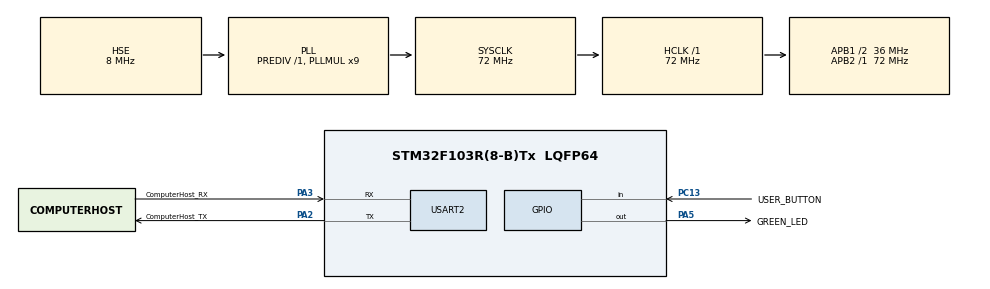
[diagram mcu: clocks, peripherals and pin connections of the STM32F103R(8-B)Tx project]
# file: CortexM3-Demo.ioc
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Dma.Request0=USART2_RX
Dma.USART2_RX.0.Direction=DMA_PERIPH_TO_MEMORY
Dma.USART2_RX.0.Instance=DMA1_Channel6
Dma.USART2_RX.0.MemDataAlignment=DMA_MDATAALIGN_BYTE
Dma.USART2_RX.0.MemInc=DMA_MINC_ENABLE
Dma.USART2_RX.0.Mode=DMA_NORMAL
Dma.USART2_RX.0.PeriphDataAlignment=DMA_PDATAALIGN_BYTE
Dma.USART2_RX.0.PeriphInc=DMA_PINC_DISABLE
Dma.USART2_RX.0.Priority=DMA_PRIORITY_HIGH
Mcu.Family=STM32F1
Mcu.Name=STM32F103R(8-B)Tx
Mcu.Package=LQFP64
NVIC.DMA1_Channel6_IRQn=true\:0\:0\:false\:false\:true\:false\:true
NVIC.PriorityGroup=NVIC_PRIORITYGROUP_4
NVIC.USART2_IRQn=true\:0\:0\:false\:false\:true\:true\:true
PA13.GPIO_Label=TMS
PA13.Mode=Serial_Wire
PA13.Signal=SYS_JTMS-SWDIO
PA14.GPIO_Label=TCK
PA14.Mode=Serial_Wire
PA14.Signal=SYS_JTCK-SWCLK
PA2.GPIO_Label=ComputerHost_TX
PA2.GPIO_Mode=GPIO_MODE_AF_PP
PA2.GPIO_PuPd=GPIO_NOPULL
PA2.GPIO_Speed=GPIO_SPEED_FREQ_LOW
PA2.Mode=Asynchronous
PA2.Signal=USART2_TX
PA3.GPIO_Label=ComputerHost_RX
PA3.GPIO_Mode=GPIO_MODE_AF_PP
PA3.GPIO_PuPd=GPIO_NOPULL
PA3.GPIO_Speed=GPIO_SPEED_FREQ_LOW
PA3.Mode=Asynchronous
PA3.Signal=USART2_RX
PA5.GPIO_Label=GREEN_LED
PA5.GPIO_ModeDefaultOutputPP=GPIO_MODE_OUTPUT_PP
PA5.GPIO_PuPd=GPIO_NOPULL
PA5.GPIO_Speed=GPIO_SPEED_FREQ_LOW
PA5.Signal=GPIO_Output
PB3.GPIO_Label=SWO
PB3.Signal=SYS_JTDO-TRACESWO
PC13-TAMPER-RTC.GPIO_Label=USER_BUTTON
PC13-TAMPER-RTC.GPIO_PuPd=GPIO_NOPULL
PC13-TAMPER-RTC.Signal=GPIO_Input
PC14-OSC32_IN.Mode=LSE-External-Oscillator
PC14-OSC32_IN.Signal=RCC_OSC32_IN
PC15-OSC32_OUT.Mode=LSE-External-Oscillator
PC15-OSC32_OUT.Signal=RCC_OSC32_OUT
PD0-OSC_IN.Mode=HSE-External-Clock-Source
PD0-OSC_IN.Signal=RCC_OSC_IN
PD1-OSC_OUT.Mode=HSE-External-Clock-Source
PD1-OSC_OUT.Signal=RCC_OSC_OUT
ProjectManager.HeapSize=0x200
ProjectManager.StackSize=0x400
ProjectManager.TargetToolchain=MDK-ARM V5
RCC.AHBFreq_Value=72000000
RCC.APB1CLKDivider=RCC_HCLK_DIV2
RCC.APB1Freq_Value=36000000
RCC.APB1TimFreq_Value=72000000
RCC.APB2Freq_Value=72000000
RCC.APB2TimFreq_Value=72000000
RCC.HCLKFreq_Value=72000000
RCC.PLLMUL=RCC_PLL_MUL9
RCC.PLLSourceVirtual=RCC_PLLSOURCE_HSE
RCC.RTCClockSelection=RCC_RTCCLKSOURCE_LSE
RCC.SYSCLKFreq_VALUE=72000000
RCC.SYSCLKSource=RCC_SYSCLKSOURCE_PLLCLK
RCC.USBFreq_Value=72000000
USART2.VirtualMode=VM_ASYNC
board=NUCLEO-F103RB

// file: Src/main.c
/* USER CODE BEGIN Header */
/**
  ******************************************************************************
  * @file           : main.c
  * @brief          : Main program body
	* @author         : Chan Tai Wing Vincent
	* @content        : M3 Demo - UART Receive with DMA
	* @version        : Tutorial 8
  ******************************************************************************
  * @attention
  * This program is written for STM32F103RB Nucleo Board. This program is to
  * demonstrate how to control the built in LED (ON/OFF) by the USART message
  * which controlled by RX interrupt. Also, send USART message to another deivce.
  *
  ******************************************************************************
  */
/* USER CODE END Header */

#include "main.h"

/* USER CODE BEGIN Includes */
#include "stdbool.h" //include for bool type
#include <string.h>
#include <stdio.h>
/* USER CODE END Includes */

/* USER CODE BEGIN PD */
#define BUFFER_SIZE 5
/* USER CODE END PD */

UART_HandleTypeDef huart2;
DMA_HandleTypeDef hdma_usart2_rx;

/* USER CODE BEGIN PV */
unsigned char UART_RX_BUFFER[BUFFER_SIZE] = {0};
unsigned char UART_TX_BUFFER[BUFFER_SIZE] = {0};
/* USER CODE END PV */

void SystemClock_Config(void);
static void MX_GPIO_Init(void);
static void MX_USART2_UART_Init(void);
static void MX_DMA_Init(void);

/* USER CODE BEGIN 0 */
#ifdef __GNUC__
 #define PUTCHAR_PROTOTYPE int __io_putchar(int ch)
#else
 #define PUTCHAR_PROTOTYPE int fputc(int ch, FILE *f)
#endif /* __GNUC__ */
PUTCHAR_PROTOTYPE
{
	HAL_UART_Transmit(&huart2,(uint8_t*)&ch,1,0xFFFF);
	return ch;
}
/* USER CODE END 0 */

int main(void)
{

  /* MCU Configuration--------------------------------------------------------*/

  /* Reset of all peripherals, Initializes the Flash interface and the Systick. */
  HAL_Init();

  /* Configure the system clock */
  SystemClock_Config();

  /* Initialize all configured peripherals */
  MX_GPIO_Init();
  MX_USART2_UART_Init();
  MX_DMA_Init();
  /* USER CODE BEGIN 2 */
	HAL_UART_Receive_DMA(&huart2,UART_RX_BUFFER,BUFFER_SIZE);
	printf("<<----STM32F103RB DMA Receive Demo---->>\r\n");
  /* USER CODE END 2 */

  /* Infinite loop */
  while (1)
  {

  }
}

void SystemClock_Config(void)
{
  RCC_OscInitTypeDef RCC_OscInitStruct = {0};
  RCC_ClkInitTypeDef RCC_ClkInitStruct = {0};

  /** Initializes the CPU, AHB and APB busses clocks
  */
  RCC_OscInitStruct.OscillatorType = RCC_OSCILLATORTYPE_HSE;
  RCC_OscInitStruct.HSEState = RCC_HSE_BYPASS;
  RCC_OscInitStruct.HSEPredivValue = RCC_HSE_PREDIV_DIV1;
  RCC_OscInitStruct.HSIState = RCC_HSI_ON;
  RCC_OscInitStruct.PLL.PLLState = RCC_PLL_ON;
  RCC_OscInitStruct.PLL.PLLSource = RCC_PLLSOURCE_HSE;
  RCC_OscInitStruct.PLL.PLLMUL = RCC_PLL_MUL9;
  if (HAL_RCC_OscConfig(&RCC_OscInitStruct) != HAL_OK)
  {
    Error_Handler();
  }
  /** Initializes the CPU, AHB and APB busses clocks
  */
  RCC_ClkInitStruct.ClockType = RCC_CLOCKTYPE_HCLK|RCC_CLOCKTYPE_SYSCLK
                              |RCC_CLOCKTYPE_PCLK1|RCC_CLOCKTYPE_PCLK2;
  RCC_ClkInitStruct.SYSCLKSource = RCC_SYSCLKSOURCE_PLLCLK;
  RCC_ClkInitStruct.AHBCLKDivider = RCC_SYSCLK_DIV1;
  RCC_ClkInitStruct.APB1CLKDivider = RCC_HCLK_DIV2;
  RCC_ClkInitStruct.APB2CLKDivider = RCC_HCLK_DIV1;

  if (HAL_RCC_ClockConfig(&RCC_ClkInitStruct, FLASH_LATENCY_2) != HAL_OK)
  {
    Error_Handler();
  }
}

static void MX_USART2_UART_Init(void)
{

  huart2.Instance = USART2;
  huart2.Init.BaudRate = 115200;
  huart2.Init.WordLength = UART_WORDLENGTH_8B;
  huart2.Init.StopBits = UART_STOPBITS_1;
  huart2.Init.Parity = UART_PARITY_NONE;
  huart2.Init.Mode = UART_MODE_TX_RX;
  huart2.Init.HwFlowCtl = UART_HWCONTROL_NONE;
  huart2.Init.OverSampling = UART_OVERSAMPLING_16;
  if (HAL_UART_Init(&huart2) != HAL_OK)
  {
    Error_Handler();
  }

}

static void MX_DMA_Init(void)
{

  /* DMA controller clock enable */
  __HAL_RCC_DMA1_CLK_ENABLE();
	/* DMA UART RX Init [Vincent] */
  hdma_usart2_rx.Instance = DMA1_Channel6;
  hdma_usart2_rx.Init.Direction = DMA_PERIPH_TO_MEMORY;
  hdma_usart2_rx.Init.PeriphInc = DMA_PINC_DISABLE;
  hdma_usart2_rx.Init.MemInc = DMA_MINC_ENABLE;
  hdma_usart2_rx.Init.PeriphDataAlignment = DMA_MDATAALIGN_BYTE;
  hdma_usart2_rx.Init.MemDataAlignment = DMA_MDATAALIGN_BYTE;
  hdma_usart2_rx.Init.Mode = DMA_NORMAL;
  hdma_usart2_rx.Init.Priority = DMA_PRIORITY_LOW;
  HAL_DMA_Init(&hdma_usart2_rx);

  __HAL_LINKDMA(&huart2,hdmatx,hdma_usart2_rx);
  /* DMA interrupt init */
  /* DMA1_Channel6_IRQn interrupt configuration */
  HAL_NVIC_SetPriority(DMA1_Channel6_IRQn, 0, 0);
  HAL_NVIC_EnableIRQ(DMA1_Channel6_IRQn);

}

static void MX_GPIO_Init(void)
{
  GPIO_InitTypeDef GPIO_InitStruct = {0};

  /* GPIO Ports Clock Enable */
  __HAL_RCC_GPIOC_CLK_ENABLE();
  __HAL_RCC_GPIOD_CLK_ENABLE();
  __HAL_RCC_GPIOA_CLK_ENABLE();
  __HAL_RCC_GPIOB_CLK_ENABLE();

  /*Configure GPIO pin Output Level */
  HAL_GPIO_WritePin(GREEN_LED_GPIO_Port, GREEN_LED_Pin, GPIO_PIN_RESET);

  /*Configure GPIO pin : USER_BUTTON_Pin */
  GPIO_InitStruct.Pin = USER_BUTTON_Pin;
  GPIO_InitStruct.Mode = GPIO_MODE_INPUT;
  GPIO_InitStruct.Pull = GPIO_NOPULL;
  HAL_GPIO_Init(USER_BUTTON_GPIO_Port, &GPIO_InitStruct);

  /*Configure GPIO pin : GREEN_LED_Pin */
  GPIO_InitStruct.Pin = GREEN_LED_Pin;
  GPIO_InitStruct.Mode = GPIO_MODE_OUTPUT_PP;
  GPIO_InitStruct.Pull = GPIO_NOPULL;
  GPIO_InitStruct.Speed = GPIO_SPEED_FREQ_LOW;
  HAL_GPIO_Init(GREEN_LED_GPIO_Port, &GPIO_InitStruct);

}

/* USER CODE BEGIN 4 */
void HAL_UART_RxCpltCallback(UART_HandleTypeDef *huart)
{
  if(huart==&huart2)
	{
		memcpy(UART_TX_BUFFER,UART_RX_BUFFER,BUFFER_SIZE);
		unsigned char init_msg[]="UART2-DMA-RX=";
		printf("%s",init_msg);
		printf("%s\r\n",UART_TX_BUFFER);
		HAL_UART_Receive_DMA(&huart2,UART_RX_BUFFER,BUFFER_SIZE);
	}
}
/* USER CODE END 4 */

void Error_Handler(void)
{
}

/************************ (C) COPYRIGHT STMicroelectronics *****END OF FILE****/
